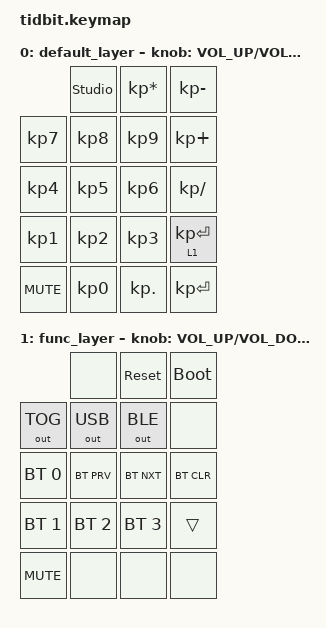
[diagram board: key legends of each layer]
/*
 * Copyright (c) 2020 The ZMK Contributors
 *
 * SPDX-License-Identifier: MIT
 */

#include <behaviors.dtsi>
#include <dt-bindings/zmk/bt.h>
#include <dt-bindings/zmk/keys.h>
#include <dt-bindings/zmk/outputs.h>
#include "boards/shields/tidbit/tidbit-layouts.dtsi"

/* Enable ONLY ONE of the &encoder_1 nodes. They are wired to the same pins.*/
/*
&encoder_1 {
    status = "okay";
};
&encoder_1_top_left {
    status = "okay";
};
*/

/*
&encoder_2 {
    status = "okay";
};

&encoder_3 {
    status = "okay";
};
*/

&encoder_4 {
    status = "okay";
};

/* Add any encoder(s) you have enabled to the sensors node, separated by spaces. */
&sensors {
    sensors = <&encoder_4>;
};

/ {
    keymap {
        compatible = "zmk,keymap";
        physical_layout = <&layout_tidbit_19_key>;

        default_layer {
            bindings = <
                                &studio_unlock  &kp KP_ASTERISK &kp KP_MINUS
                &kp KP_NUMBER_7 &kp KP_NUMBER_8 &kp KP_NUMBER_9 &kp KP_PLUS
                &kp KP_NUMBER_4 &kp KP_NUMBER_5 &kp KP_NUMBER_6 &kp KP_SLASH
                &kp KP_NUMBER_1 &kp KP_NUMBER_2 &kp KP_NUMBER_3 &lt 1 KP_ENTER
                &kp C_MUTE      &kp KP_NUMBER_0 &kp KP_DOT      &kp KP_ENTER
            >;

            sensor-bindings = <&inc_dec_kp C_VOLUME_UP C_VOLUME_DOWN>;
        };

         func_layer {
             bindings = <
                                &none           &sys_reset      &bootloader
                &out OUT_TOG    &out OUT_USB    &out OUT_BLE    &none
                &bt BT_SEL 0    &bt BT_PRV      &bt BT_NXT      &bt BT_CLR
                &bt BT_SEL 1    &bt BT_SEL 2    &bt BT_SEL 3    &trans
                &kp C_MUTE      &none           &none           &none
             >;

             sensor-bindings = <&inc_dec_kp C_VOLUME_UP C_VOLUME_DOWN>;
         };
    };
};
